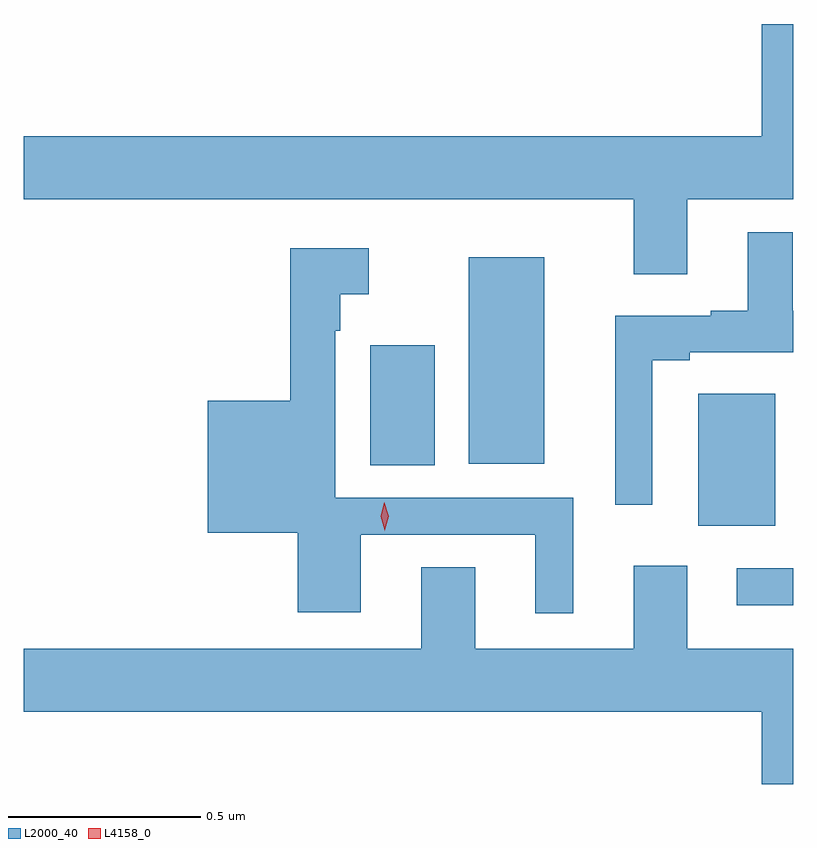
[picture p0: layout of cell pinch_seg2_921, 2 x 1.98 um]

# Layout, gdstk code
import gdstk
lib = gdstk.Library(unit=1e-6, precision=1e-09)
def R(c, l, rs):  # rectangles x0, y0, x1, y1
    for r in rs: c.add(gdstk.rectangle(r[:2], r[2:], *l))
def P(c, l, *ps):  # polygons
    for p in ps: c.add(gdstk.Polygon(p, *l))
L2000_40 = (2000, 40)
L4158_0 = (4158, 0)

pinch_seg2_921 = lib.new_cell('pinch_seg2_921')
R(pinch_seg2_921, L2000_40, [(380.727,595.965,380.874,596.061), (380.627,596.171,380.827,596.515), (379.775,596.329,379.942,596.641), (380.03,596.333,380.227,596.869)])
P(pinch_seg2_921, L2000_40, [(380.599,597.02),(380.874,597.02),(380.874,597.476),(380.792,597.476),(380.792,597.184),(378.874,597.184),(378.874,597.02),(380.459,597.02),(380.459,596.826),(380.599,596.826)],
  [(380.508,596.602),(380.605,596.602),(380.605,596.622),(380.874,596.622),(380.874,596.731),(380.873,596.731),(380.873,596.935),(380.756,596.935),(380.756,596.731),(380.66,596.731),(380.66,596.718),(380.411,596.718),(380.411,596.226),(380.508,596.226)],
  [(380.302,596.244),(379.683,596.244),(379.683,596.678),(379.696,596.678),(379.696,596.774),(379.771,596.774),(379.771,596.893),(379.567,596.893),(379.567,596.497),(379.352,596.497),(379.352,596.153),(379.586,596.153),(379.586,595.947),(379.75,595.947),(379.75,596.148),(380.204,596.148),(380.204,595.944),(380.302,595.944)],
  [(380.874,595.852),(380.599,595.852),(380.599,596.068),(380.459,596.068),(380.459,595.852),(380.047,595.852),(380.047,596.063),(379.907,596.063),(379.907,595.852),(378.874,595.852),(378.874,595.688),(380.792,595.688),(380.792,595.5),(380.874,595.5)])
P(pinch_seg2_921, L4158_0, [(379.812,596.159),(379.812,596.16),(379.802,596.196),(379.811,596.232),(379.811,596.232),(379.811,596.232),(379.822,596.196),(379.812,596.16)])

lib.write_gds('pinch_seg2_921.gds')
